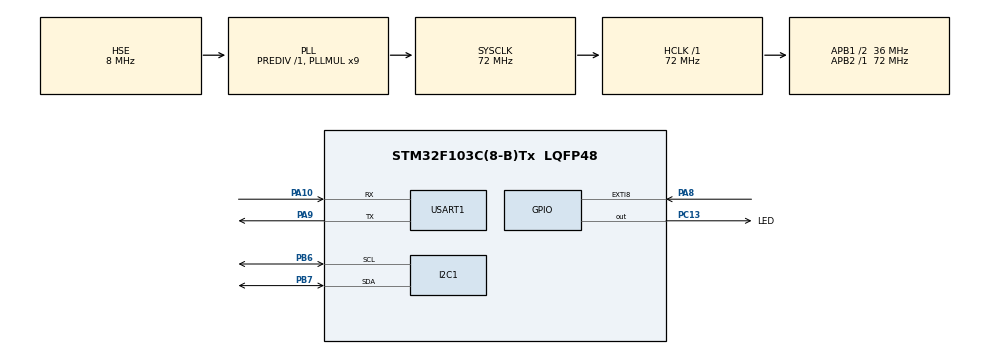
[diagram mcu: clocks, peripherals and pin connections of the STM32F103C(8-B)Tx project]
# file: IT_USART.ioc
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Dma.MEMTOMEM.2.Direction=DMA_MEMORY_TO_MEMORY
Dma.MEMTOMEM.2.Instance=DMA1_Channel1
Dma.MEMTOMEM.2.MemDataAlignment=DMA_MDATAALIGN_BYTE
Dma.MEMTOMEM.2.MemInc=DMA_MINC_ENABLE
Dma.MEMTOMEM.2.Mode=DMA_NORMAL
Dma.MEMTOMEM.2.PeriphDataAlignment=DMA_PDATAALIGN_BYTE
Dma.MEMTOMEM.2.PeriphInc=DMA_PINC_ENABLE
Dma.MEMTOMEM.2.Priority=DMA_PRIORITY_LOW
Dma.Request0=USART1_RX
Dma.Request1=USART1_TX
Dma.Request2=MEMTOMEM
Dma.USART1_RX.0.Direction=DMA_PERIPH_TO_MEMORY
Dma.USART1_RX.0.Instance=DMA1_Channel5
Dma.USART1_RX.0.MemDataAlignment=DMA_MDATAALIGN_BYTE
Dma.USART1_RX.0.MemInc=DMA_MINC_ENABLE
Dma.USART1_RX.0.Mode=DMA_NORMAL
Dma.USART1_RX.0.PeriphDataAlignment=DMA_PDATAALIGN_BYTE
Dma.USART1_RX.0.PeriphInc=DMA_PINC_DISABLE
Dma.USART1_RX.0.Priority=DMA_PRIORITY_MEDIUM
Dma.USART1_TX.1.Direction=DMA_MEMORY_TO_PERIPH
Dma.USART1_TX.1.Instance=DMA1_Channel4
Dma.USART1_TX.1.MemDataAlignment=DMA_MDATAALIGN_BYTE
Dma.USART1_TX.1.MemInc=DMA_MINC_ENABLE
Dma.USART1_TX.1.Mode=DMA_NORMAL
Dma.USART1_TX.1.PeriphDataAlignment=DMA_PDATAALIGN_BYTE
Dma.USART1_TX.1.PeriphInc=DMA_PINC_DISABLE
Dma.USART1_TX.1.Priority=DMA_PRIORITY_MEDIUM
I2C1.I2C_Mode=I2C_Standard
Mcu.Family=STM32F1
Mcu.Name=STM32F103C(8-B)Tx
Mcu.Package=LQFP48
NVIC.DMA1_Channel4_IRQn=true\:1\:0\:true\:false\:true\:false\:true\:true
NVIC.DMA1_Channel5_IRQn=true\:1\:0\:true\:false\:true\:false\:true\:true
NVIC.EXTI9_5_IRQn=true\:2\:0\:true\:false\:true\:true\:true\:true
NVIC.PriorityGroup=NVIC_PRIORITYGROUP_4
NVIC.USART1_IRQn=true\:1\:0\:true\:false\:true\:true\:true\:true
PA10.Mode=Asynchronous
PA10.Signal=USART1_RX
PA13.Mode=Serial_Wire
PA13.Signal=SYS_JTMS-SWDIO
PA14.Mode=Serial_Wire
PA14.Signal=SYS_JTCK-SWCLK
PA8.GPIO_ModeDefaultEXTI=GPIO_MODE_IT_FALLING
PA8.GPIO_PuPd=GPIO_PULLUP
PA8.Signal=GPXTI8
PA9.Mode=Asynchronous
PA9.Signal=USART1_TX
PB6.Mode=I2C
PB6.Signal=I2C1_SCL
PB7.Mode=I2C
PB7.Signal=I2C1_SDA
PC13-TAMPER-RTC.GPIO_Label=LED
PC13-TAMPER-RTC.GPIO_PuPd=GPIO_PULLUP
PC13-TAMPER-RTC.GPIO_Speed=GPIO_SPEED_FREQ_LOW
PC13-TAMPER-RTC.PinState=GPIO_PIN_SET
PC13-TAMPER-RTC.Signal=GPIO_Output
PD0-OSC_IN.Mode=HSE-External-Oscillator
PD0-OSC_IN.Signal=RCC_OSC_IN
PD1-OSC_OUT.Mode=HSE-External-Oscillator
PD1-OSC_OUT.Signal=RCC_OSC_OUT
ProjectManager.HeapSize=0x200
ProjectManager.StackSize=0x400
ProjectManager.TargetToolchain=MDK-ARM V5.32
RCC.AHBFreq_Value=72000000
RCC.APB1CLKDivider=RCC_HCLK_DIV2
RCC.APB1Freq_Value=36000000
RCC.APB1TimFreq_Value=72000000
RCC.APB2Freq_Value=72000000
RCC.APB2TimFreq_Value=72000000
RCC.HCLKFreq_Value=72000000
RCC.PLLMUL=RCC_PLL_MUL9
RCC.PLLSourceVirtual=RCC_PLLSOURCE_HSE
RCC.SYSCLKFreq_VALUE=72000000
RCC.SYSCLKSource=RCC_SYSCLKSOURCE_PLLCLK
RCC.USBFreq_Value=72000000
RTC.Date=29
RTC.Format=RTC_FORMAT_BIN
RTC.Hours=13
RTC.Minutes=17
RTC.Month=RTC_MONTH_JUNE
RTC.WeekDay=RTC_WEEKDAY_SATURDAY
RTC.Year=24
USART1.VirtualMode=VM_ASYNC
VP_RTC_VS_RTC_Activate.Mode=RTC_Enabled
VP_RTC_VS_RTC_Calendar.Mode=RTC_Calendar
board=custom

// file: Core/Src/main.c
/* USER CODE BEGIN Header */
/**
  ******************************************************************************
  * @file           : main.c
  * @brief          : Main program body
  ******************************************************************************
  * @attention
  *
  * Copyright (c) 2024 STMicroelectronics.
  * All rights reserved.
  *
  * This software is licensed under terms that can be found in the LICENSE file
  * in the root directory of this software component.
  * If no LICENSE file comes with this software, it is provided AS-IS.
  *
  ******************************************************************************
  */
/* USER CODE END Header */
#include "main.h"
#include "dma.h"
#include "i2c.h"
#include "rtc.h"
#include "usart.h"
#include "gpio.h"

/* USER CODE BEGIN Includes */
#include "oled.h"

/* USER CODE END Includes */

void SystemClock_Config(void);

/* USER CODE BEGIN 0 */
uint16_t MyRTC_Time[] = {0, 0, 0, 0, 0, 0};

/**
 * @brief 读取时间
 *
 */
void MyRTC_ReadTime(void)
{
  RTC_TimeTypeDef sTime;
  RTC_DateTypeDef sDate;
  HAL_RTC_GetTime(&hrtc, &sTime, RTC_FORMAT_BIN);
  HAL_RTC_GetDate(&hrtc, &sDate, RTC_FORMAT_BIN);
  MyRTC_Time[0] = sDate.Year;
  MyRTC_Time[1] = sDate.Month;
  MyRTC_Time[2] = sDate.Date;
  MyRTC_Time[3] = sTime.Hours;
  MyRTC_Time[4] = sTime.Minutes;
  MyRTC_Time[5] = sTime.Seconds;
}

/* USER CODE END 0 */

int main(void)
{
  /* USER CODE BEGIN 1 */
//	const char message[] = "hello windows!\r\n";  //定义数据发送数组
	char Data[50],Time[50];
  /* USER CODE END 1 */

  /* MCU Configuration--------------------------------------------------------*/

  /* Reset of all peripherals, Initializes the Flash interface and the Systick. */
  HAL_Init();

  /* Configure the system clock */
  SystemClock_Config();

  /* Initialize all configured peripherals */
  MX_GPIO_Init();
  MX_DMA_Init();
  MX_USART1_UART_Init();
  MX_I2C1_Init();
  MX_RTC_Init();
  /* USER CODE BEGIN 2 */
	OLED_Init();
	OLED_Clear();
	//OLED_ShowString(0,0,"hello",6);
	//OLED_ShowNum(5,0,249,4,16);
	// 开启串口接收中断
  HAL_UART_Receive_IT(&huart1, (uint8_t *)&usart1Recv.recvData, 1);
  /* USER CODE END 2 */

  /* Infinite loop */
  while (1)
  {

    /* USER CODE BEGIN 3 */
		MyRTC_ReadTime();

		sprintf(Data,"%d%s%d%s%d",MyRTC_Time[0],"/", MyRTC_Time[1],"/",MyRTC_Time[2]);
		sprintf(Time,"%s%d%s%d%s%d","Time is ",MyRTC_Time[3],":",MyRTC_Time[4],":",MyRTC_Time[5]);
		OLED_ShowString(0,0,(uint8_t*)Data,12);
		OLED_ShowString(0,2,(uint8_t*)Time,12);
		if(MyRTC_Time[5] == 59) //当秒是59的时候就刷新
			OLED_Clear();
		if(usart1Recv.recvFlag == 1)
		{
			usart1Recv.recvFlag = 0;
			if(strcmp(usart1Recv.recvBuff, "LED\r") == 0)
			{
				// 发送数据
				printf(usart1Recv.recvBuff);
				printf("temp is %d\r\n",temp);
				HAL_GPIO_TogglePin(GPIOC,GPIO_PIN_13);

			}
			// 发送数据
			printf("UART_FLAG\r\n");
			memset(usart1Recv.recvBuff,0,sizeof(usart1Recv.recvBuff));
		}

  }
  /* USER CODE END 3 */
}

void SystemClock_Config(void)
{
  RCC_OscInitTypeDef RCC_OscInitStruct = {0};
  RCC_ClkInitTypeDef RCC_ClkInitStruct = {0};
  RCC_PeriphCLKInitTypeDef PeriphClkInit = {0};

  /** Initializes the RCC Oscillators according to the specified parameters
  * in the RCC_OscInitTypeDef structure.
  */
  RCC_OscInitStruct.OscillatorType = RCC_OSCILLATORTYPE_LSI|RCC_OSCILLATORTYPE_HSE;
  RCC_OscInitStruct.HSEState = RCC_HSE_ON;
  RCC_OscInitStruct.HSEPredivValue = RCC_HSE_PREDIV_DIV1;
  RCC_OscInitStruct.HSIState = RCC_HSI_ON;
  RCC_OscInitStruct.LSIState = RCC_LSI_ON;
  RCC_OscInitStruct.PLL.PLLState = RCC_PLL_ON;
  RCC_OscInitStruct.PLL.PLLSource = RCC_PLLSOURCE_HSE;
  RCC_OscInitStruct.PLL.PLLMUL = RCC_PLL_MUL9;
  if (HAL_RCC_OscConfig(&RCC_OscInitStruct) != HAL_OK)
  {
    Error_Handler();
  }

  /** Initializes the CPU, AHB and APB buses clocks
  */
  RCC_ClkInitStruct.ClockType = RCC_CLOCKTYPE_HCLK|RCC_CLOCKTYPE_SYSCLK
                              |RCC_CLOCKTYPE_PCLK1|RCC_CLOCKTYPE_PCLK2;
  RCC_ClkInitStruct.SYSCLKSource = RCC_SYSCLKSOURCE_PLLCLK;
  RCC_ClkInitStruct.AHBCLKDivider = RCC_SYSCLK_DIV1;
  RCC_ClkInitStruct.APB1CLKDivider = RCC_HCLK_DIV2;
  RCC_ClkInitStruct.APB2CLKDivider = RCC_HCLK_DIV1;

  if (HAL_RCC_ClockConfig(&RCC_ClkInitStruct, FLASH_LATENCY_2) != HAL_OK)
  {
    Error_Handler();
  }
  PeriphClkInit.PeriphClockSelection = RCC_PERIPHCLK_RTC;
  PeriphClkInit.RTCClockSelection = RCC_RTCCLKSOURCE_LSI;
  if (HAL_RCCEx_PeriphCLKConfig(&PeriphClkInit) != HAL_OK)
  {
    Error_Handler();
  }
}

void Error_Handler(void)
{
  __disable_irq();
  while (1)
  {
  }
}
